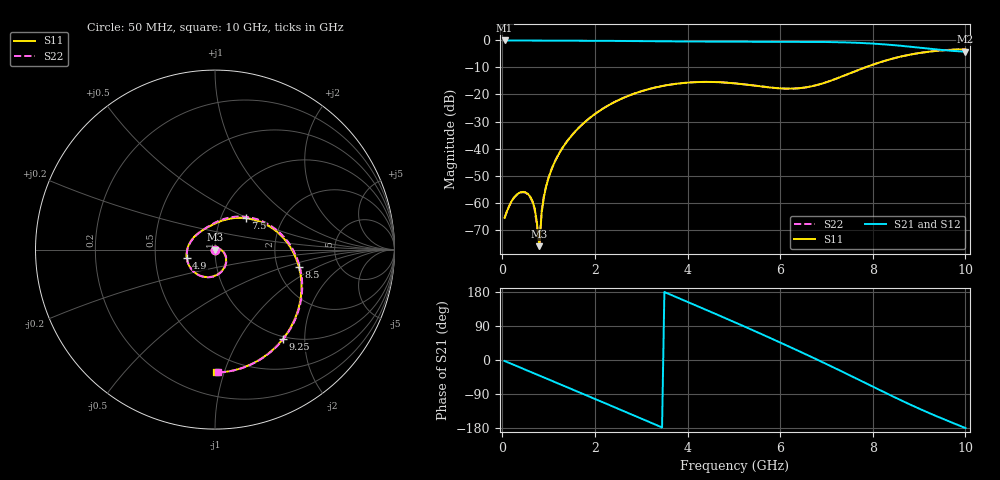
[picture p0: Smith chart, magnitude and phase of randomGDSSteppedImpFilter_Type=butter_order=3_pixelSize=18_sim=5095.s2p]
! freq	dB(S11)	phase(S11)	dB(S12)	phase(S12)
!  dB(S21)	phase(S21)	dB(S22)	phase(S22)
!S-par simulation data
#  GHz  S  DB  R 50
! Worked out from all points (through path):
!   200 points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, 50 MHz to 10 GHz, reference 50 ohm
!   highest |S21| = 0.00 dB at 50 MHz (marker M1); lowest = -4.2 dB at 10 GHz (marker M2)
!   group delay of S21, straight-line fit = 151 ps
!   lowest |S11| = -76.1 dB at 800 MHz (marker M3), VSWR 1.00, Z = 50 - j0.00231 ohm
!   |S11| at or under -10 dB: start of sweep to 7.832 GHz
!   |S22| runs from -75.6 to -3.3 dB; largest |S21 - S12| = 0
!   S11 on the Smith chart (normalised r, x): 50 MHz: 1.00, -0.00; 4.9 GHz: 0.72, -0.07; 7.5 GHz: 1.31, +0.49; 8.5 GHz: 2.63, -0.67; 9.25 GHz: 0.97, -1.57; 10 GHz: 0.37, -0.94
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0.05  -65.63 -15.5  -0.00 -2.6  -0.00 -2.6  -65.67 -15.4
0.3  -57.25 -84.7  -0.03 -15.4  -0.03 -15.4  -57.33 -86.1
0.55  -56.73 -105.1  -0.04 -28.2  -0.04 -28.2  -56.92 -109.6
0.7  -62.16 -110.1  -0.05 -35.9  -0.05 -35.9  -62.68 -124.3
0.8  -76.14 -8.5  -0.05 -41.0  -0.05 -41.0  -75.55 98.6
0.85  -63.73 38.5  -0.05 -43.6  -0.05 -43.6  -63.08 63.6
0.9  -57.80 42.4  -0.06 -46.2  -0.06 -46.2  -57.42 55.7
1.05  -48.34 37.8  -0.07 -53.8  -0.07 -53.8  -48.18 43.9
1.35  -38.52 22.5  -0.08 -69.2  -0.08 -69.2  -38.45 25.8
1.75  -30.72 1.3  -0.11 -89.8  -0.11 -89.8  -30.69 3.5
2.5  -22.16 -38.4  -0.18 -128.6  -0.18 -128.6  -22.14 -36.8
3.4  -17.06 -85.3  -0.31 -175.3  -0.31 -175.3  -17.04 -83.7
4.1  -15.50 -121.8  -0.40 148.2  -0.40 148.2  -15.49 -120.0
4.9  -15.70 -164.4  -0.45 106.0  -0.45 106.0  -15.68 -161.8
5.05  -15.93 -172.5  -0.46 98.0  -0.46 98.0  -15.91 -169.8
5.8  -17.45 145.1  -0.46 57.3  -0.46 57.3  -17.44 149.2
6.7  -16.89 91.7  -0.52 6.7  -0.52 6.7  -16.91 96.2
7.5  -12.20 45.7  -0.77 -40.2  -0.77 -40.2  -12.22 48.5
8.35  -7.09 -3.3  -1.59 -91.1  -1.59 -91.1  -7.09 -1.8
8.5  -6.41 -11.9  -1.81 -100.0  -1.81 -100.0  -6.41 -10.5
9.25  -4.09 -52.6  -3.11 -141.7  -3.11 -141.7  -4.09 -51.7
10  -3.29 -89.4  -4.15 -179.5  -4.15 -179.5  -3.29 -88.7
